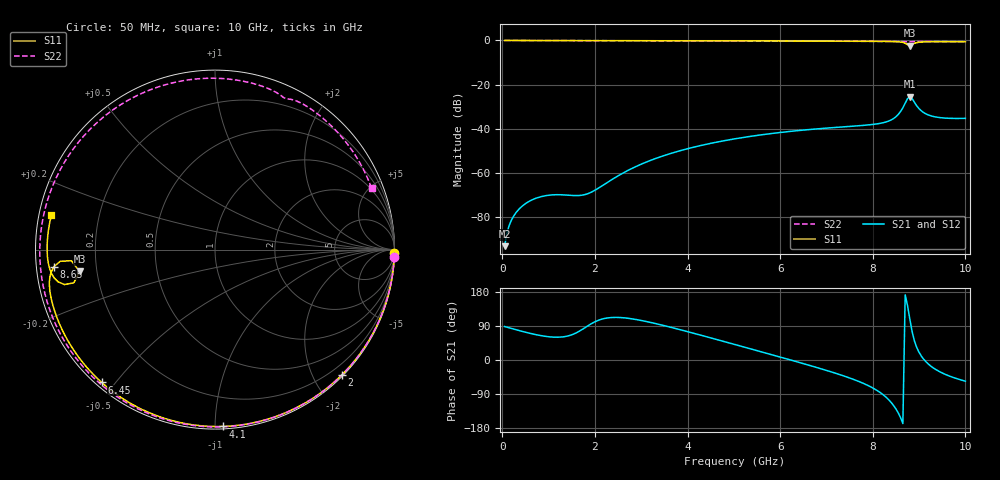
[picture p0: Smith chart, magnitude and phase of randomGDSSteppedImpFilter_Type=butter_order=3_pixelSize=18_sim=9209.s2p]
! freq	dB(S11)	phase(S11)	dB(S12)	phase(S12)
!  dB(S21)	phase(S21)	dB(S22)	phase(S22)
!S-par simulation data
#  GHz  S  DB  R 50
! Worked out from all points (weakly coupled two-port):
!   200 points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, 50 MHz to 10 GHz, reference 50 ohm
!   highest |S21| = -25.50 dB at 8.8 GHz (marker M1); lowest = -93.4 dB at 50 MHz (marker M2)
!   lowest |S11| = -2.3 dB at 8.8 GHz (marker M3), VSWR 7.50, Z = 6.71 - j3.94 ohm
!   |S11| at or under -10 dB: nowhere
!   |S22| runs from -0.6 to 0.0 dB; largest |S21 - S12| = 0
!   S11 on the Smith chart (normalised r, x): 50 MHz: open; 2 GHz: 0.02, -2.44; 4.1 GHz: 0.01, -1.04; 6.45 GHz: 0.02, -0.46; 8.65 GHz: 0.05, -0.05; 10 GHz: 0.04, +0.10
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0.05  -0.00 -1.2  -93.39 88.3  -93.39 88.3  -0.00 -2.4
0.25  -0.01 -5.7  -79.58 81.4  -79.58 81.4  -0.02 -11.9
0.5  -0.02 -11.4  -74.09 73.3  -74.09 73.3  -0.03 -23.6
0.8  -0.02 -18.2  -71.13 65.1  -71.13 65.1  -0.05 -37.3
1.3  -0.04 -29.3  -70.08 60.9  -70.08 60.9  -0.07 -59.4
1.75  -0.05 -39.2  -70.13 82.5  -70.13 82.5  -0.09 -77.9
2  -0.06 -44.6  -68.02 100.8  -68.02 100.8  -0.10 -87.6
2.65  -0.08 -58.4  -59.70 111.0  -59.70 111.0  -0.12 -111.2
3.4  -0.10 -73.7  -52.92 93.6  -52.92 93.6  -0.15 -135.7
4.1  -0.12 -87.5  -48.62 71.6  -48.62 71.6  -0.17 -156.7
5.05  -0.16 -105.4  -44.56 40.0  -44.56 40.0  -0.21 176.5
5.75  -0.20 -118.0  -42.42 16.3  -42.42 16.3  -0.25 157.0
6.45  -0.24 -130.5  -40.79 -7.7  -40.79 -7.7  -0.29 137.3
6.7  -0.26 -134.9  -40.31 -16.5  -40.31 -16.5  -0.31 130.1
7.55  -0.33 -149.9  -38.95 -49.6  -38.95 -49.6  -0.37 104.6
8.35  -0.45 -165.4  -36.53 -105.6  -36.53 -105.6  -0.44 78.9
8.5  -0.54 -169.1  -34.63 -129.1  -34.63 -129.1  -0.47 73.8
8.65  -0.90 -174.0  -30.54 -167.6  -30.54 -167.6  -0.54 68.7
8.8  -2.33 -170.8  -25.50 108.2  -25.50 108.2  -0.63 64.6
8.9  -1.30 -166.9  -28.10 50.1  -28.10 50.1  -0.50 61.4
9.2  -0.61 -175.5  -33.82 -10.7  -33.82 -10.7  -0.47 50.4
10  -0.61 168.0  -35.37 -55.9  -35.37 -55.9  -0.56 21.5
